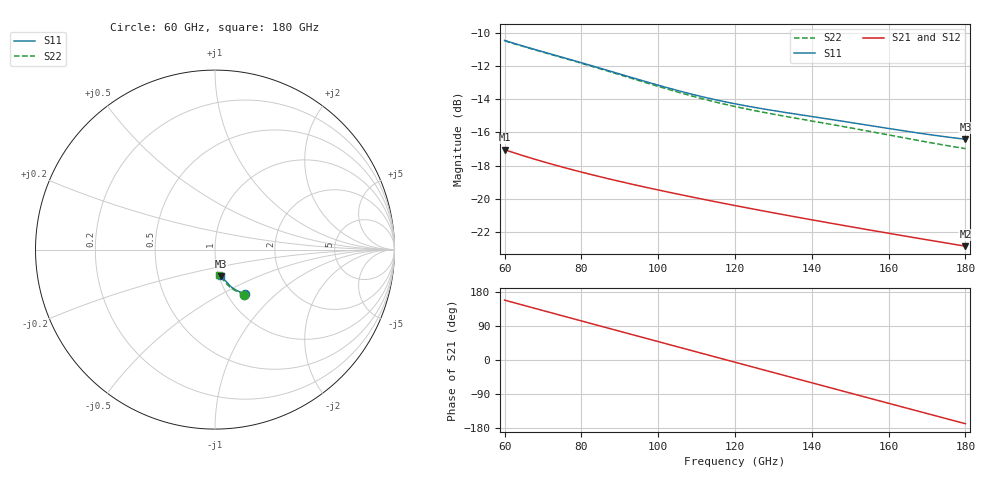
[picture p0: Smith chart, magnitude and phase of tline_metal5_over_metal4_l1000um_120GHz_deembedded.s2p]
! Created with skrf 2.2.0 (http://scikit-rf.org).
# GHz S DB R 50.0
! Port[1] = P1
! Port[2] = P2
!freq dBS11 angS11 dBS21 angS21 dBS12 angS12 dBS22 angS22
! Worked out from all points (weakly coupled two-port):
!   101 points, 60 GHz to 180 GHz, reference 50 ohm
!   highest |S21| = -17.04 dB at 60 GHz (marker M1); lowest = -22.9 dB at 180 GHz (marker M2)
!   lowest |S11| = -16.4 dB at 180 GHz (marker M3), VSWR 1.36, Z = 50.9 - j15.4 ohm
!   |S11| at or under -10 dB: start of sweep to end of sweep
!   |S22| runs from -17.0 to -10.5 dB; largest |S21 - S12| = 1.5e-13
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60  -10.46 -55.9  -17.04 158.0  -17.04 158.0  -10.47 -56.9
66  -10.87 -57.7  -17.48 141.5  -17.48 141.5  -10.89 -58.7
70.8  -11.19 -59.1  -17.81 128.3  -17.81 128.3  -11.22 -60.3
75.6  -11.51 -60.7  -18.12 115.1  -18.12 115.1  -11.53 -61.9
80.4  -11.83 -62.2  -18.41 102.0  -18.41 102.0  -11.86 -63.5
85.2  -12.15 -63.6  -18.69 88.9  -18.69 88.9  -12.19 -65.1
90  -12.48 -64.9  -18.95 75.8  -18.95 75.8  -12.52 -66.6
94.8  -12.80 -66.1  -19.20 62.7  -19.20 62.7  -12.86 -67.9
100.8  -13.20 -67.4  -19.51 46.4  -19.51 46.4  -13.28 -69.3
105.6  -13.51 -68.2  -19.74 33.3  -19.74 33.3  -13.60 -70.3
110.4  -13.79 -68.9  -19.97 20.2  -19.97 20.2  -13.90 -71.1
115.2  -14.04 -69.5  -20.19 7.2  -20.19 7.2  -14.18 -71.8
120  -14.27 -70.1  -20.41 -5.9  -20.41 -5.9  -14.44 -72.5
124.8  -14.48 -70.6  -20.62 -18.9  -20.62 -18.9  -14.67 -73.1
130.8  -14.71 -71.4  -20.88 -35.2  -20.88 -35.2  -14.93 -74.0
140.4  -15.05 -72.8  -21.28 -61.2  -21.28 -61.2  -15.33 -75.5
145.2  -15.22 -73.6  -21.48 -74.2  -21.48 -74.2  -15.52 -76.4
150  -15.40 -74.4  -21.68 -87.2  -21.68 -87.2  -15.72 -77.2
154.8  -15.57 -75.1  -21.87 -100.2  -21.87 -100.2  -15.92 -78.0
160.8  -15.79 -76.0  -22.11 -116.4  -22.11 -116.4  -16.18 -79.0
170.4  -16.12 -77.2  -22.48 -142.3  -22.48 -142.3  -16.59 -80.2
180  -16.41 -78.1  -22.85 -168.1  -22.85 -168.1  -16.98 -81.2
